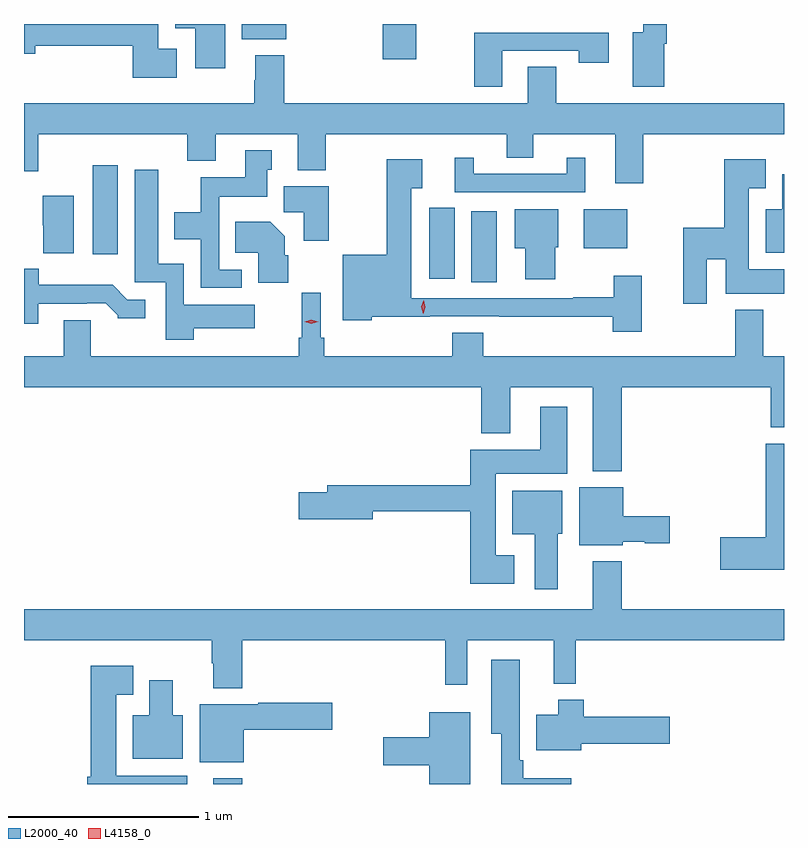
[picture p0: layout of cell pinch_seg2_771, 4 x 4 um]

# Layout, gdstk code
import gdstk
lib = gdstk.Library(unit=1e-6, precision=1e-09)
def R(c, l, rs):  # rectangles x0, y0, x1, y1
    for r in rs: c.add(gdstk.rectangle(r[:2], r[2:], *l))
def P(c, l, *ps):  # polygons
    for p in ps: c.add(gdstk.Polygon(p, *l))
L2000_40 = (2000, 40)
L4158_0 = (4158, 0)

pinch_seg2_771 = lib.new_cell('pinch_seg2_771')
R(pinch_seg2_771, L2000_40, [(658.391,640.22,658.544,640.249), (659.75,642.862,659.884,643.234), (659.528,642.879,659.662,643.254), (657.758,643.008,657.889,643.477), (660.341,643.04,660.571,643.246), (659.282,644.034,659.46,644.22), (658.541,644.141,658.774,644.22)])
P(pinch_seg2_771, L2000_40, [(658.453,644.22),(658.19,644.22),(658.19,644.198),(658.295,644.198),(658.295,643.986),(658.453,643.986)],
  [(660.766,644.117),(660.779,644.117),(660.779,644.22),(660.653,644.22),(660.653,644.176),(660.599,644.176),(660.599,643.89),(660.766,643.89)],
  [(658.198,644.089),(658.102,644.089),(658.102,644.22),(657.395,644.22),(657.395,644.063),(657.454,644.063),(657.454,644.106),(657.968,644.106),(657.968,643.937),(658.198,643.937)],
  [(659.911,644.079),(660.316,644.079),(660.316,644.016),(660.472,644.016),(660.472,644.175),(659.764,644.175),(659.764,643.89),(659.911,643.89)],
  [(660.654,643.64),(661.395,643.64),(661.395,643.804),(660.195,643.804),(660.195,643.994),(660.047,643.994),(660.047,643.804),(658.766,643.804),(658.766,644.056),(658.613,644.056),(658.613,643.925),(658.606,643.925),(658.606,643.804),(657.395,643.804),(657.395,643.446),(657.469,643.446),(657.469,643.64),(658.253,643.64),(658.253,643.499),(658.405,643.499),(658.405,643.64),(658.835,643.64),(658.835,643.451),(658.983,643.451),(658.983,643.64),(659.936,643.64),(659.936,643.516),(660.076,643.516),(660.076,643.64),(660.506,643.64),(660.506,643.383),(660.654,643.383)],
  [(658.54,642.927),(658.422,642.927),(658.422,643.31),(658.675,643.31),(658.675,643.452),(658.699,643.452),(658.699,643.555),(658.559,643.555),(658.559,643.414),(658.324,643.414),(658.324,643.228),(658.187,643.228),(658.187,643.088),(658.326,643.088),(658.326,642.831),(658.54,642.831)],
  [(660.349,643.516),(660.251,643.516),(660.251,643.431),(659.761,643.431),(659.761,643.516),(659.663,643.516),(659.663,643.335),(660.349,643.335)],
  [(660.988,642.983),(661.088,642.983),(661.088,642.8),(661.395,642.8),(661.395,642.928),(661.21,642.928),(661.21,643.355),(661.3,643.355),(661.3,643.507),(661.081,643.507),(661.081,643.148),(660.866,643.148),(660.866,642.747),(660.988,642.747)],
  [(660.646,642.895),(660.499,642.895),(660.499,642.782),(660.286,642.782),(660.286,642.777),(659.434,642.777),(659.434,643.355),(659.491,643.355),(659.491,643.507),(659.305,643.507),(659.305,643.006),(659.072,643.006),(659.072,642.662),(659.226,642.662),(659.226,642.68),(659.53,642.68),(659.53,642.681),(659.896,642.681),(659.896,642.68),(660.494,642.68),(660.494,642.6),(660.646,642.6)],
  [(658.289,642.62),(658.609,642.62),(658.609,642.742),(658.236,642.742),(658.236,642.958),(658.102,642.958),(658.102,643.453),(657.977,643.453),(657.977,642.861),(658.14,642.861),(658.14,642.558),(658.289,642.558)],
  [(661.395,643.429),(661.385,643.429),(661.385,643.246),(661.298,643.246),(661.298,643.016),(661.395,643.016)],
  [(658.998,643.366),(658.763,643.366),(658.763,643.228),(658.868,643.228),(658.868,643.08),(658.998,643.08)],
  [(657.658,643.315),(657.494,643.315),(657.494,643.161),(657.496,643.161),(657.496,643.013),(657.658,643.013)],
  [(660.19,643.044),(660.208,643.044),(660.208,643.246),(659.978,643.246),(659.978,643.04),(660.032,643.04),(660.032,642.876),(660.19,642.876)],
  [(658.786,643.002),(658.768,643.002),(658.768,643.102),(658.69,643.18),(658.507,643.18),(658.507,643.016),(658.628,643.016),(658.628,642.859),(658.786,642.859)],
  [(657.469,642.747),(657.725,642.747),(657.725,642.75),(657.824,642.75),(657.888,642.686),(657.888,642.671),(658.033,642.671),(658.033,642.768),(657.939,642.768),(657.861,642.847),(657.472,642.847),(657.472,642.931),(657.395,642.931),(657.395,642.642),(657.469,642.642)],
  [(660.542,642.308),(661.325,642.308),(661.325,642.097),(661.395,642.097),(661.395,642.472),(661.285,642.472),(661.285,642.715),(661.138,642.715),(661.138,642.472),(659.813,642.472),(659.813,642.596),(659.648,642.596),(659.648,642.472),(658.976,642.472),(658.976,642.568),(658.956,642.568),(658.956,642.805),(658.858,642.805),(658.858,642.568),(658.84,642.568),(658.84,642.472),(657.745,642.472),(657.745,642.662),(657.605,642.662),(657.605,642.472),(657.395,642.472),(657.395,642.308),(659.801,642.308),(659.801,642.065),(659.953,642.065),(659.953,642.308),(660.389,642.308),(660.389,641.867),(660.542,641.867)],
  [(659.974,641.425),(659.878,641.425),(659.878,641.852),(660.253,641.852),(660.253,642.205),(660.113,642.205),(660.113,641.98),(659.744,641.98),(659.744,641.792),(658.991,641.792),(658.991,641.756),(658.842,641.756),(658.842,641.614),(659.23,641.614),(659.23,641.656),(659.744,641.656),(659.744,641.273),(659.974,641.273)],
  [(661.395,642.012),(661.298,642.012),(661.298,641.519),(661.059,641.519),(661.059,641.348),(661.395,641.348)],
  [(660.546,641.495),(660.663,641.495),(660.663,641.488),(660.793,641.488),(660.793,641.63),(660.55,641.63),(660.55,641.782),(660.317,641.782),(660.317,641.477),(660.546,641.477)],
  [(660.205,641.538),(660.229,641.538),(660.229,641.764),(659.966,641.764),(659.966,641.534),(660.083,641.534),(660.083,641.244),(660.205,641.244)],
  [(658.544,640.976),(659.611,640.976),(659.611,640.743),(659.727,640.743),(659.727,640.976),(660.182,640.976),(660.182,640.748),(660.299,640.748),(660.299,640.976),(661.395,640.976),(661.395,641.14),(660.542,641.14),(660.542,641.392),(660.389,641.392),(660.389,641.14),(657.395,641.14),(657.395,640.976),(658.384,640.976),(658.384,640.856),(658.391,640.856),(658.391,640.724),(658.544,640.724)],
  [(660.276,640.249),(660.023,640.249),(660.023,640.345),(660.004,640.345),(660.004,640.873),(659.855,640.873),(659.855,640.484),(659.906,640.484),(659.906,640.22),(660.276,640.22)],
  [(658.255,640.264),(657.88,640.264),(657.88,640.691),(657.97,640.691),(657.97,640.843),(657.746,640.843),(657.746,640.257),(657.728,640.257),(657.728,640.22),(658.255,640.22)],
  [(658.231,640.582),(658.177,640.582),(658.177,640.765),(658.055,640.765),(658.055,640.582),(657.968,640.582),(657.968,640.352),(658.231,640.352)],
  [(660.328,640.433),(660.793,640.433),(660.793,640.575),(660.341,640.575),(660.341,640.663),(660.206,640.663),(660.206,640.585),(660.092,640.585),(660.092,640.397),(660.328,640.397)],
  [(658.552,640.505),(659.017,640.505),(659.017,640.647),(658.627,640.647),(658.627,640.639),(658.319,640.639),(658.319,640.334),(658.552,640.334)],
  [(659.743,640.597),(659.528,640.597),(659.528,640.466),(659.286,640.466),(659.286,640.319),(659.528,640.319),(659.528,640.22),(659.743,640.22)])
P(pinch_seg2_771, L4158_0, [(659.495,642.695),(659.495,642.696),(659.487,642.731),(659.498,642.766),(659.499,642.767),(659.499,642.766),(659.507,642.73),(659.495,642.696)],
  [(658.908,642.643),(658.872,642.653),(658.871,642.653),(658.872,642.654),(658.908,642.663),(658.943,642.654),(658.944,642.653),(658.943,642.653)])

lib.write_gds('pinch_seg2_771.gds')
